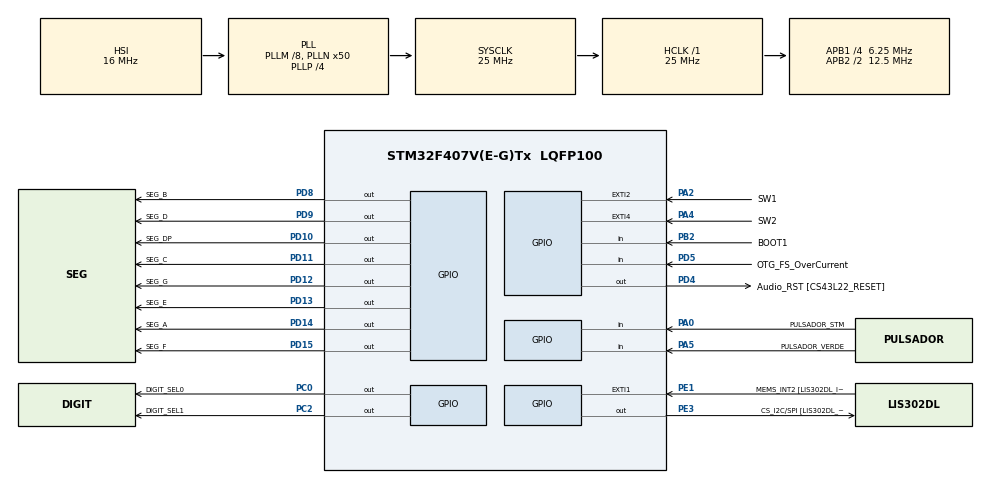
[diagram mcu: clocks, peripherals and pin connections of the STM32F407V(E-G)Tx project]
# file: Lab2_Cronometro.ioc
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Mcu.Family=STM32F4
Mcu.Name=STM32F407V(E-G)Tx
Mcu.Package=LQFP100
NVIC.EXTI2_IRQn=true\:0\:0\:false\:false\:true\:true\:true\:true
NVIC.EXTI4_IRQn=true\:0\:0\:false\:false\:true\:true\:true\:true
NVIC.PriorityGroup=NVIC_PRIORITYGROUP_0
NVIC.TIM2_IRQn=true\:0\:0\:false\:false\:true\:true\:true\:true
PA0-WKUP.GPIO_Label=PULSADOR_STM
PA0-WKUP.Signal=GPIO_Input
PA10.GPIO_Label=OTG_FS_ID
PA10.GPIO_Mode=GPIO_MODE_AF_PP
PA10.GPIO_PuPd=GPIO_NOPULL
PA10.GPIO_Speed=GPIO_SPEED_FREQ_LOW
PA10.Signal=USB_OTG_FS_ID
PA11.GPIO_Label=OTG_FS_DM
PA11.GPIO_Mode=GPIO_MODE_AF_PP
PA11.GPIO_PuPd=GPIO_NOPULL
PA11.GPIO_Speed=GPIO_SPEED_FREQ_LOW
PA11.Signal=USB_OTG_FS_DM
PA12.GPIO_Label=OTG_FS_DP
PA12.GPIO_Mode=GPIO_MODE_AF_PP
PA12.GPIO_PuPd=GPIO_NOPULL
PA12.GPIO_Speed=GPIO_SPEED_FREQ_LOW
PA12.Signal=USB_OTG_FS_DP
PA13.GPIO_Label=SWDIO
PA13.Signal=SYS_JTMS-SWDIO
PA14.GPIO_Label=SWCLK
PA14.Signal=SYS_JTCK-SWCLK
PA2.GPIO_Label=SW1
PA2.GPIO_ModeDefaultEXTI=GPIO_MODE_IT_FALLING
PA2.GPIO_PuPd=GPIO_NOPULL
PA2.Signal=GPXTI2
PA4.GPIO_Label=SW2
PA4.GPIO_ModeDefaultEXTI=GPIO_MODE_IT_FALLING
PA4.GPIO_PuPd=GPIO_NOPULL
PA4.Signal=GPXTI4
PA5.GPIO_Label=PULSADOR_VERDE
PA5.Signal=GPIO_Input
PA6.GPIO_Label=SPI1_MISO [LIS302DL_SDO]
PA6.GPIO_Mode=GPIO_MODE_AF_PP
PA6.GPIO_PuPd=GPIO_NOPULL
PA6.GPIO_Speed=GPIO_SPEED_FREQ_LOW
PA6.Signal=SPI1_MISO
PA7.GPIO_Label=SPI1_MOSI [LIS302DL_SDA/SDI/SDO]
PA7.GPIO_Mode=GPIO_MODE_AF_PP
PA7.GPIO_PuPd=GPIO_NOPULL
PA7.GPIO_Speed=GPIO_SPEED_FREQ_LOW
PA7.Signal=SPI1_MOSI
PA9.GPIO_Label=VBUS_FS
PA9.GPIO_Mode=GPIO_MODE_INPUT
PA9.GPIO_PuPd=GPIO_NOPULL
PA9.Signal=USB_OTG_FS_VBUS
PB10.GPIO_Label=CLK_IN [MP45DT02_CLK]
PB10.GPIO_Mode=GPIO_MODE_AF_PP
PB10.GPIO_PuPd=GPIO_NOPULL
PB10.GPIO_Speed=GPIO_SPEED_FREQ_LOW
PB10.Signal=I2S2_CK
PB2.GPIO_Label=BOOT1
PB2.GPIO_Mode=GPIO_MODE_INPUT
PB2.GPIO_PuPd=GPIO_NOPULL
PB2.Signal=GPIO_Input
PB3.GPIO_Label=SWO
PB3.Signal=SYS_JTDO-SWO
PB6.GPIO_Label=Audio_SCL [CS43L22_SCL]
PB6.GPIO_Mode=GPIO_MODE_AF_OD
PB6.GPIO_PuPd=GPIO_NOPULL
PB6.GPIO_Speed=GPIO_SPEED_FREQ_LOW
PB6.Signal=I2C1_SCL
PB9.GPIO_Label=Audio_SDA [CS43L22_SDA]
PB9.GPIO_Mode=GPIO_MODE_AF_OD
PB9.GPIO_PuPd=GPIO_NOPULL
PB9.GPIO_Speed=GPIO_SPEED_FREQ_LOW
PB9.Signal=I2C1_SDA
PC0.GPIO_Label=DIGIT_SEL0
PC0.GPIO_PuPd=GPIO_NOPULL
PC0.GPIO_Speed=GPIO_SPEED_FREQ_LOW
PC0.PinState=GPIO_PIN_RESET
PC0.Signal=GPIO_Output
PC10.GPIO_Label=I2S3_SCK [CS43L22_SCLK]
PC10.GPIO_Mode=GPIO_MODE_AF_PP
PC10.GPIO_PuPd=GPIO_NOPULL
PC10.GPIO_Speed=GPIO_SPEED_FREQ_LOW
PC10.Signal=I2S3_CK
PC12.GPIO_Label=I2S3_SD [CS43L22_SDIN]
PC12.GPIO_Mode=GPIO_MODE_AF_PP
PC12.GPIO_PuPd=GPIO_NOPULL
PC12.GPIO_Speed=GPIO_SPEED_FREQ_LOW
PC12.Signal=I2S3_SD
PC14-OSC32_IN.GPIO_Label=PC14-OSC32_IN
PC14-OSC32_IN.Signal=RCC_OSC32_IN
PC15-OSC32_OUT.GPIO_Label=PC15-OSC32_OUT
PC15-OSC32_OUT.Signal=RCC_OSC32_OUT
PC2.GPIO_Label=DIGIT_SEL1
PC2.GPIO_PuPd=GPIO_NOPULL
PC2.GPIO_Speed=GPIO_SPEED_FREQ_LOW
PC2.PinState=GPIO_PIN_RESET
PC2.Signal=GPIO_Output
PC3.GPIO_Label=PDM_OUT [MP45DT02_DOUT]
PC3.GPIO_Mode=GPIO_MODE_AF_PP
PC3.GPIO_PuPd=GPIO_NOPULL
PC3.GPIO_Speed=GPIO_SPEED_FREQ_LOW
PC3.Signal=I2S2_SD
PC7.GPIO_Label=I2S3_MCK [CS43L22_MCLK]
PC7.GPIO_Mode=GPIO_MODE_AF_PP
PC7.GPIO_PuPd=GPIO_NOPULL
PC7.GPIO_Speed=GPIO_SPEED_FREQ_LOW
PC7.Signal=I2S3_MCK
PD10.GPIO_Label=SEG_DP
PD10.GPIO_PuPd=GPIO_NOPULL
PD10.GPIO_Speed=GPIO_SPEED_FREQ_LOW
PD10.PinState=GPIO_PIN_RESET
PD10.Signal=GPIO_Output
PD11.GPIO_Label=SEG_C
PD11.PinState=GPIO_PIN_RESET
PD11.Signal=GPIO_Output
PD12.GPIO_Label=SEG_G
PD12.GPIO_PuPd=GPIO_NOPULL
PD12.GPIO_Speed=GPIO_SPEED_FREQ_LOW
PD12.Signal=GPIO_Output
PD13.GPIO_Label=SEG_E
PD13.GPIO_PuPd=GPIO_NOPULL
PD13.GPIO_Speed=GPIO_SPEED_FREQ_LOW
PD13.Signal=GPIO_Output
PD14.GPIO_Label=SEG_A
PD14.GPIO_PuPd=GPIO_NOPULL
PD14.GPIO_Speed=GPIO_SPEED_FREQ_LOW
PD14.Signal=GPIO_Output
PD15.GPIO_Label=SEG_F
PD15.GPIO_PuPd=GPIO_NOPULL
PD15.GPIO_Speed=GPIO_SPEED_FREQ_LOW
PD15.Signal=GPIO_Output
PD4.GPIO_Label=Audio_RST [CS43L22_RESET]
PD4.GPIO_PuPd=GPIO_NOPULL
PD4.GPIO_Speed=GPIO_SPEED_FREQ_LOW
PD4.Signal=GPIO_Output
PD5.GPIO_Label=OTG_FS_OverCurrent
PD5.GPIO_Mode=GPIO_MODE_INPUT
PD5.GPIO_PuPd=GPIO_NOPULL
PD5.Signal=GPIO_Input
PD8.GPIO_Label=SEG_B
PD8.GPIO_PuPd=GPIO_NOPULL
PD8.GPIO_Speed=GPIO_SPEED_FREQ_LOW
PD8.PinState=GPIO_PIN_RESET
PD8.Signal=GPIO_Output
PD9.GPIO_Label=SEG_D
PD9.PinState=GPIO_PIN_RESET
PD9.Signal=GPIO_Output
PE1.GPIO_Label=MEMS_INT2 [LIS302DL_INT2]
PE1.GPIO_ModeDefaultEXTI=GPIO_MODE_EVT_RISING
PE1.GPIO_PuPd=GPIO_NOPULL
PE1.Signal=GPXTI1
PE3.GPIO_Label=CS_I2C/SPI [LIS302DL_CS_I2C/SPI]
PE3.GPIO_PuPd=GPIO_NOPULL
PE3.GPIO_Speed=GPIO_SPEED_FREQ_LOW
PE3.Signal=GPIO_Output
PH0-OSC_IN.GPIO_Label=PH0-OSC_IN
PH0-OSC_IN.Signal=RCC_OSC_IN
PH1-OSC_OUT.GPIO_Label=PH1-OSC_OUT
PH1-OSC_OUT.Signal=RCC_OSC_OUT
ProjectManager.HeapSize=0x200
ProjectManager.StackSize=0x400
ProjectManager.TargetToolchain=STM32CubeIDE
RCC.48MHZClocksFreq_Value=14285714.285714285
RCC.AHBFreq_Value=25000000
RCC.APB1CLKDivider=RCC_HCLK_DIV4
RCC.APB1Freq_Value=6250000
RCC.APB1TimFreq_Value=12500000
RCC.APB2CLKDivider=RCC_HCLK_DIV2
RCC.APB2Freq_Value=12500000
RCC.APB2TimFreq_Value=25000000
RCC.CortexFreq_Value=25000000
RCC.HCLKFreq_Value=25000000
RCC.HSE_VALUE=8000000
RCC.HSI_VALUE=16000000
RCC.LSE_VALUE=32768
RCC.PLLM=8
RCC.PLLN=50
RCC.PLLP=RCC_PLLP_DIV4
RCC.PLLQ=7
RCC.SYSCLKFreq_VALUE=25000000
RCC.SYSCLKSource=RCC_SYSCLKSOURCE_PLLCLK
RCC.VCOOutputFreq_Value=100000000
TIM2.Period=199
TIM2.Prescaler=124
VP_TIM2_VS_ClockSourceINT.Mode=Internal
board=STM32F407G-DISC1

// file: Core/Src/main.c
/* USER CODE BEGIN Header */
/* USER CODE END Header */
#include "main.h"

/* USER CODE BEGIN Includes */
#include "cronometro.h"
#include "display.h"
#include "pulsadores.h"
/* USER CODE END Includes */

TIM_HandleTypeDef htim2;

void SystemClock_Config(void);
static void MX_GPIO_Init(void);
static void MX_TIM2_Init(void);
/* USER CODE BEGIN PFP */
static void Inicializar(void);
/* USER CODE END PFP */

int main(void) {

	/* MCU Configuration--------------------------------------------------------*/

	/* Reset of all peripherals, Initializes the Flash interface and the Systick. */
	HAL_Init();

	/* Configure the system clock */
	SystemClock_Config();

	/* Initialize all configured peripherals */
	MX_GPIO_Init();
	MX_TIM2_Init();
	/* USER CODE BEGIN 2 */
	Inicializar();
	/* USER CODE END 2 */

	/* Infinite loop */
	/* USER CODE BEGIN WHILE */
	while (1) {
		ProcesarPulsadores();
		ActualizarCuentaCronometro();
		/* USER CODE END WHILE */

	}
}

void SystemClock_Config(void) {
	RCC_OscInitTypeDef RCC_OscInitStruct = { 0 };
	RCC_ClkInitTypeDef RCC_ClkInitStruct = { 0 };

	/** Configure the main internal regulator output voltage
	 */
	__HAL_RCC_PWR_CLK_ENABLE();
	__HAL_PWR_VOLTAGESCALING_CONFIG(PWR_REGULATOR_VOLTAGE_SCALE1);

	/** Initializes the RCC Oscillators according to the specified parameters
	 * in the RCC_OscInitTypeDef structure.
	 */
	RCC_OscInitStruct.OscillatorType = RCC_OSCILLATORTYPE_HSI;
	RCC_OscInitStruct.HSIState = RCC_HSI_ON;
	RCC_OscInitStruct.HSICalibrationValue = RCC_HSICALIBRATION_DEFAULT;
	RCC_OscInitStruct.PLL.PLLState = RCC_PLL_ON;
	RCC_OscInitStruct.PLL.PLLSource = RCC_PLLSOURCE_HSI;
	RCC_OscInitStruct.PLL.PLLM = 8;
	RCC_OscInitStruct.PLL.PLLN = 50;
	RCC_OscInitStruct.PLL.PLLP = RCC_PLLP_DIV4;
	RCC_OscInitStruct.PLL.PLLQ = 7;
	if (HAL_RCC_OscConfig(&RCC_OscInitStruct) != HAL_OK) {
		Error_Handler();
	}

	/** Initializes the CPU, AHB and APB buses clocks
	 */
	RCC_ClkInitStruct.ClockType = RCC_CLOCKTYPE_HCLK | RCC_CLOCKTYPE_SYSCLK
			| RCC_CLOCKTYPE_PCLK1 | RCC_CLOCKTYPE_PCLK2;
	RCC_ClkInitStruct.SYSCLKSource = RCC_SYSCLKSOURCE_PLLCLK;
	RCC_ClkInitStruct.AHBCLKDivider = RCC_SYSCLK_DIV1;
	RCC_ClkInitStruct.APB1CLKDivider = RCC_HCLK_DIV4;
	RCC_ClkInitStruct.APB2CLKDivider = RCC_HCLK_DIV2;

	if (HAL_RCC_ClockConfig(&RCC_ClkInitStruct, FLASH_LATENCY_0) != HAL_OK) {
		Error_Handler();
	}
}

static void MX_TIM2_Init(void) {

	TIM_ClockConfigTypeDef sClockSourceConfig = { 0 };
	TIM_MasterConfigTypeDef sMasterConfig = { 0 };

	htim2.Instance = TIM2;
	htim2.Init.Prescaler = 124;
	htim2.Init.CounterMode = TIM_COUNTERMODE_UP;
	htim2.Init.Period = 199;
	htim2.Init.ClockDivision = TIM_CLOCKDIVISION_DIV1;
	htim2.Init.AutoReloadPreload = TIM_AUTORELOAD_PRELOAD_DISABLE;
	if (HAL_TIM_Base_Init(&htim2) != HAL_OK) {
		Error_Handler();
	}
	sClockSourceConfig.ClockSource = TIM_CLOCKSOURCE_INTERNAL;
	if (HAL_TIM_ConfigClockSource(&htim2, &sClockSourceConfig) != HAL_OK) {
		Error_Handler();
	}
	sMasterConfig.MasterOutputTrigger = TIM_TRGO_RESET;
	sMasterConfig.MasterSlaveMode = TIM_MASTERSLAVEMODE_DISABLE;
	if (HAL_TIMEx_MasterConfigSynchronization(&htim2, &sMasterConfig)
			!= HAL_OK) {
		Error_Handler();
	}

}

static void MX_GPIO_Init(void) {
	GPIO_InitTypeDef GPIO_InitStruct = { 0 };

	/* GPIO Ports Clock Enable */
	__HAL_RCC_GPIOE_CLK_ENABLE();
	__HAL_RCC_GPIOC_CLK_ENABLE();
	__HAL_RCC_GPIOH_CLK_ENABLE();
	__HAL_RCC_GPIOA_CLK_ENABLE();
	__HAL_RCC_GPIOB_CLK_ENABLE();
	__HAL_RCC_GPIOD_CLK_ENABLE();

	/*Configure GPIO pin Output Level */
	HAL_GPIO_WritePin(CS_I2C_SPI_GPIO_Port, CS_I2C_SPI_Pin, GPIO_PIN_RESET);

	/*Configure GPIO pin Output Level */
	HAL_GPIO_WritePin(GPIOC, DIGIT_SEL0_Pin | DIGIT_SEL1_Pin, GPIO_PIN_RESET);

	/*Configure GPIO pin Output Level */
	HAL_GPIO_WritePin(GPIOD,
			SEG_B_Pin | SEG_D_Pin | SEG_DP_Pin | SEG_C_Pin | SEG_G_Pin
					| SEG_E_Pin | SEG_A_Pin | SEG_F_Pin | Audio_RST_Pin,
			GPIO_PIN_RESET);

	/*Configure GPIO pin : CS_I2C_SPI_Pin */
	GPIO_InitStruct.Pin = CS_I2C_SPI_Pin;
	GPIO_InitStruct.Mode = GPIO_MODE_OUTPUT_PP;
	GPIO_InitStruct.Pull = GPIO_NOPULL;
	GPIO_InitStruct.Speed = GPIO_SPEED_FREQ_LOW;
	HAL_GPIO_Init(CS_I2C_SPI_GPIO_Port, &GPIO_InitStruct);

	/*Configure GPIO pins : DIGIT_SEL0_Pin DIGIT_SEL1_Pin */
	GPIO_InitStruct.Pin = DIGIT_SEL0_Pin | DIGIT_SEL1_Pin;
	GPIO_InitStruct.Mode = GPIO_MODE_OUTPUT_PP;
	GPIO_InitStruct.Pull = GPIO_NOPULL;
	GPIO_InitStruct.Speed = GPIO_SPEED_FREQ_LOW;
	HAL_GPIO_Init(GPIOC, &GPIO_InitStruct);

	/*Configure GPIO pin : PDM_OUT_Pin */
	GPIO_InitStruct.Pin = PDM_OUT_Pin;
	GPIO_InitStruct.Mode = GPIO_MODE_AF_PP;
	GPIO_InitStruct.Pull = GPIO_NOPULL;
	GPIO_InitStruct.Speed = GPIO_SPEED_FREQ_LOW;
	GPIO_InitStruct.Alternate = GPIO_AF5_SPI2;
	HAL_GPIO_Init(PDM_OUT_GPIO_Port, &GPIO_InitStruct);

	/*Configure GPIO pins : PULSADOR_STM_Pin PULSADOR_VERDE_Pin */
	GPIO_InitStruct.Pin = PULSADOR_STM_Pin | PULSADOR_VERDE_Pin;
	GPIO_InitStruct.Mode = GPIO_MODE_INPUT;
	GPIO_InitStruct.Pull = GPIO_NOPULL;
	HAL_GPIO_Init(GPIOA, &GPIO_InitStruct);

	/*Configure GPIO pins : SW1_Pin SW2_Pin */
	GPIO_InitStruct.Pin = SW1_Pin | SW2_Pin;
	GPIO_InitStruct.Mode = GPIO_MODE_IT_FALLING;
	GPIO_InitStruct.Pull = GPIO_NOPULL;
	HAL_GPIO_Init(SW1_GPIO_Port, &GPIO_InitStruct);

	/*Configure GPIO pins : SPI1_MISO_Pin SPI1_MOSI_Pin */
	GPIO_InitStruct.Pin = SPI1_MISO_Pin | SPI1_MOSI_Pin;
	GPIO_InitStruct.Mode = GPIO_MODE_AF_PP;
	GPIO_InitStruct.Pull = GPIO_NOPULL;
	GPIO_InitStruct.Speed = GPIO_SPEED_FREQ_LOW;
	GPIO_InitStruct.Alternate = GPIO_AF5_SPI1;
	HAL_GPIO_Init(GPIOA, &GPIO_InitStruct);

	/*Configure GPIO pin : BOOT1_Pin */
	GPIO_InitStruct.Pin = BOOT1_Pin;
	GPIO_InitStruct.Mode = GPIO_MODE_INPUT;
	GPIO_InitStruct.Pull = GPIO_NOPULL;
	HAL_GPIO_Init(BOOT1_GPIO_Port, &GPIO_InitStruct);

	/*Configure GPIO pin : CLK_IN_Pin */
	GPIO_InitStruct.Pin = CLK_IN_Pin;
	GPIO_InitStruct.Mode = GPIO_MODE_AF_PP;
	GPIO_InitStruct.Pull = GPIO_NOPULL;
	GPIO_InitStruct.Speed = GPIO_SPEED_FREQ_LOW;
	GPIO_InitStruct.Alternate = GPIO_AF5_SPI2;
	HAL_GPIO_Init(CLK_IN_GPIO_Port, &GPIO_InitStruct);

	/*Configure GPIO pins : SEG_B_Pin SEG_D_Pin SEG_DP_Pin SEG_C_Pin
	 SEG_G_Pin SEG_E_Pin SEG_A_Pin SEG_F_Pin
	 Audio_RST_Pin */
	GPIO_InitStruct.Pin = SEG_B_Pin | SEG_D_Pin | SEG_DP_Pin | SEG_C_Pin
			| SEG_G_Pin | SEG_E_Pin | SEG_A_Pin | SEG_F_Pin | Audio_RST_Pin;
	GPIO_InitStruct.Mode = GPIO_MODE_OUTPUT_PP;
	GPIO_InitStruct.Pull = GPIO_NOPULL;
	GPIO_InitStruct.Speed = GPIO_SPEED_FREQ_LOW;
	HAL_GPIO_Init(GPIOD, &GPIO_InitStruct);

	/*Configure GPIO pins : I2S3_MCK_Pin I2S3_SCK_Pin I2S3_SD_Pin */
	GPIO_InitStruct.Pin = I2S3_MCK_Pin | I2S3_SCK_Pin | I2S3_SD_Pin;
	GPIO_InitStruct.Mode = GPIO_MODE_AF_PP;
	GPIO_InitStruct.Pull = GPIO_NOPULL;
	GPIO_InitStruct.Speed = GPIO_SPEED_FREQ_LOW;
	GPIO_InitStruct.Alternate = GPIO_AF6_SPI3;
	HAL_GPIO_Init(GPIOC, &GPIO_InitStruct);

	/*Configure GPIO pin : VBUS_FS_Pin */
	GPIO_InitStruct.Pin = VBUS_FS_Pin;
	GPIO_InitStruct.Mode = GPIO_MODE_INPUT;
	GPIO_InitStruct.Pull = GPIO_NOPULL;
	HAL_GPIO_Init(VBUS_FS_GPIO_Port, &GPIO_InitStruct);

	/*Configure GPIO pins : OTG_FS_ID_Pin OTG_FS_DM_Pin OTG_FS_DP_Pin */
	GPIO_InitStruct.Pin = OTG_FS_ID_Pin | OTG_FS_DM_Pin | OTG_FS_DP_Pin;
	GPIO_InitStruct.Mode = GPIO_MODE_AF_PP;
	GPIO_InitStruct.Pull = GPIO_NOPULL;
	GPIO_InitStruct.Speed = GPIO_SPEED_FREQ_LOW;
	GPIO_InitStruct.Alternate = GPIO_AF10_OTG_FS;
	HAL_GPIO_Init(GPIOA, &GPIO_InitStruct);

	/*Configure GPIO pin : OTG_FS_OverCurrent_Pin */
	GPIO_InitStruct.Pin = OTG_FS_OverCurrent_Pin;
	GPIO_InitStruct.Mode = GPIO_MODE_INPUT;
	GPIO_InitStruct.Pull = GPIO_NOPULL;
	HAL_GPIO_Init(OTG_FS_OverCurrent_GPIO_Port, &GPIO_InitStruct);

	/*Configure GPIO pins : Audio_SCL_Pin Audio_SDA_Pin */
	GPIO_InitStruct.Pin = Audio_SCL_Pin | Audio_SDA_Pin;
	GPIO_InitStruct.Mode = GPIO_MODE_AF_OD;
	GPIO_InitStruct.Pull = GPIO_NOPULL;
	GPIO_InitStruct.Speed = GPIO_SPEED_FREQ_LOW;
	GPIO_InitStruct.Alternate = GPIO_AF4_I2C1;
	HAL_GPIO_Init(GPIOB, &GPIO_InitStruct);

	/* EXTI interrupt init*/
	HAL_NVIC_SetPriority(EXTI2_IRQn, 0, 0);
	HAL_NVIC_EnableIRQ(EXTI2_IRQn);
	HAL_NVIC_SetPriority(EXTI4_IRQn, 0, 0);
	HAL_NVIC_EnableIRQ(EXTI4_IRQn);

	/*Configure GPIO pin : MEMS_INT2_Pin */
	GPIO_InitStruct.Pin = MEMS_INT2_Pin;
	GPIO_InitStruct.Mode = GPIO_MODE_EVT_RISING;
	GPIO_InitStruct.Pull = GPIO_NOPULL;
	HAL_GPIO_Init(MEMS_INT2_GPIO_Port, &GPIO_InitStruct);

}

/* USER CODE BEGIN 4 */
/*
 * Prepara el display e inicia TIM2 por interrupciones
 */
static void Inicializar(void) {
	ActualizarTiempoDisplay(0);

	HAL_StatusTypeDef status_inicio_timer = HAL_TIM_Base_Start_IT(&htim2);
	if (status_inicio_timer != HAL_OK) {
		Error_Handler();
	}
}

/*
 * En cada interrupción de TIM2, refresca un dígito del display
 * Si el cronómetro está activo, cuenta la interrupción para medir las centésimas
 */
void HAL_TIM_PeriodElapsedCallback(TIM_HandleTypeDef *htim) {
	if (htim->Instance == TIM2) {
		RefrescarDisplay();
		ContarInterrupcionTimer();
	}
}

void HAL_GPIO_EXTI_Callback(uint16_t pin) {
	RegistrarInterrupcionPulsador(pin);
}
/* USER CODE END 4 */

void Error_Handler(void) {
	__disable_irq();
	while (1) {
	}
}
